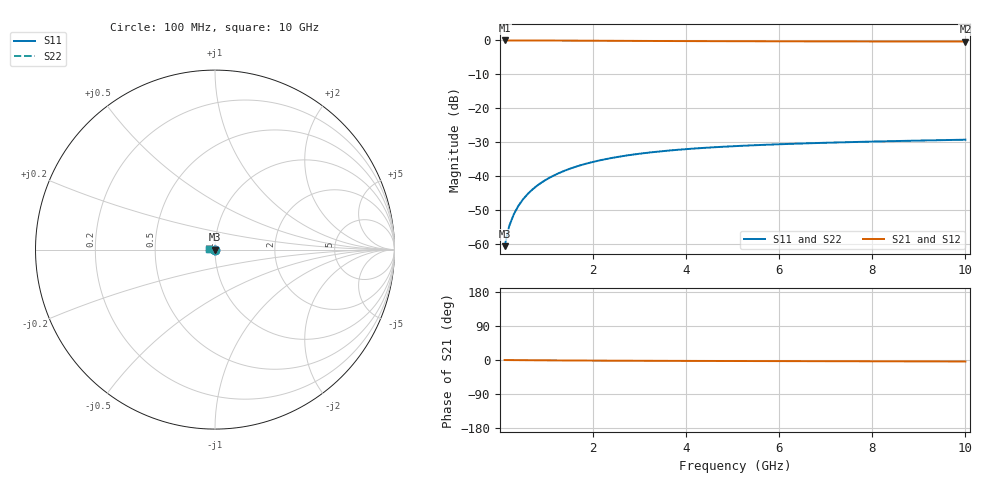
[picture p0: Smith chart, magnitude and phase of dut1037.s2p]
! Touchstone file exported from HFSS 2024.1.0
!  File:  C:/UserFiles/LocalFiles/RDL_TSV_Batchsim/temp_TSV1_1037_1780061284.aedt
!  Generated:  09:33:42 PM May 29, 2026
!  Design:  TSV1
!  Project:  temp_TSV1_1037_1780061284
!  Setup:  Setup1
!  Solution:  Sweep
! Variables:
!  dtsv = 10.32um
!  hbump = 3um
!  htsv = 58.03um
!  lrdl = 252.1521522um
!  p = 40
!  p1 = 49.83um
!  t = 500um
!  trdl = 3um
!  wrdl = 24.89489489um
# GHz S MA R 50.000000
! Terminal data exported
! Port[1] = TSV22_T1
! Port[2] = TSV22_T2
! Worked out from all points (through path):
!   100 points, 100 MHz to 10 GHz, reference 50 ohm
!   highest |S21| = 0.00 dB at 100 MHz (marker M1); lowest = -0.3 dB at 10 GHz (marker M2)
!   lowest |S11| = -60.7 dB at 100 MHz (marker M3), VSWR 1.00, Z = 50 - j0.0918 ohm
!   |S11| at or under -10 dB: start of sweep to end of sweep
!   |S22| runs from -60.7 to -29.3 dB; largest |S21 - S12| = 3.2e-15
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0.1  0.0009213 -84.8  0.9999 -0.1  0.9999 -0.1  0.0009213 -84.8
! Gamma 0 0 0 0
! Port Impedance 50 0 50 0
0.2  0.001835 -89.9  0.9998 -0.2  0.9998 -0.2  0.001835 -89.9
0.3  0.00275 -92.9  0.9996 -0.3  0.9996 -0.3  0.00275 -92.9
0.4  0.003662 -95.3  0.9994 -0.4  0.9994 -0.4  0.003662 -95.3
0.5  0.004567 -97.5  0.9991 -0.5  0.9991 -0.5  0.004567 -97.5
0.6  0.005461 -99.6  0.9988 -0.6  0.9988 -0.6  0.005461 -99.6
0.7  0.006343 -101.6  0.9984 -0.6  0.9984 -0.6  0.006343 -101.6
0.8  0.007211 -103.5  0.998 -0.7  0.998 -0.7  0.007211 -103.5
0.9  0.008063 -105.4  0.9975 -0.8  0.9975 -0.8  0.008063 -105.4
1.1  0.009714 -109.0  0.9965 -1.0  0.9965 -1.0  0.009714 -109.0
1.4  0.01205 -114.2  0.9947 -1.2  0.9947 -1.2  0.01205 -114.2
1.6  0.01349 -117.4  0.9934 -1.3  0.9934 -1.3  0.01349 -117.4
1.8  0.01486 -120.6  0.9921 -1.5  0.9921 -1.5  0.01486 -120.6
2.1  0.01674 -125.0  0.99 -1.6  0.99 -1.6  0.01674 -125.0
2.5  0.01896 -130.5  0.9873 -1.8  0.9873 -1.8  0.01896 -130.5
2.9  0.02087 -135.5  0.9847 -2.0  0.9847 -2.0  0.02087 -135.5
3.4  0.0229 -141.1  0.9817 -2.2  0.9817 -2.2  0.0229 -141.1
4.2  0.02548 -148.9  0.9777 -2.5  0.9777 -2.5  0.02548 -148.9
5.1  0.02768 -156.3  0.9741 -2.7  0.9741 -2.7  0.02768 -156.3
6.7  0.03049 -166.9  0.9694 -3.1  0.9694 -3.1  0.03049 -166.9
8.4  0.03265 -175.8  0.9662 -3.5  0.9662 -3.5  0.03265 -175.8
10  0.03431 177.1  0.9642 -3.9  0.9642 -3.9  0.03431 177.1
